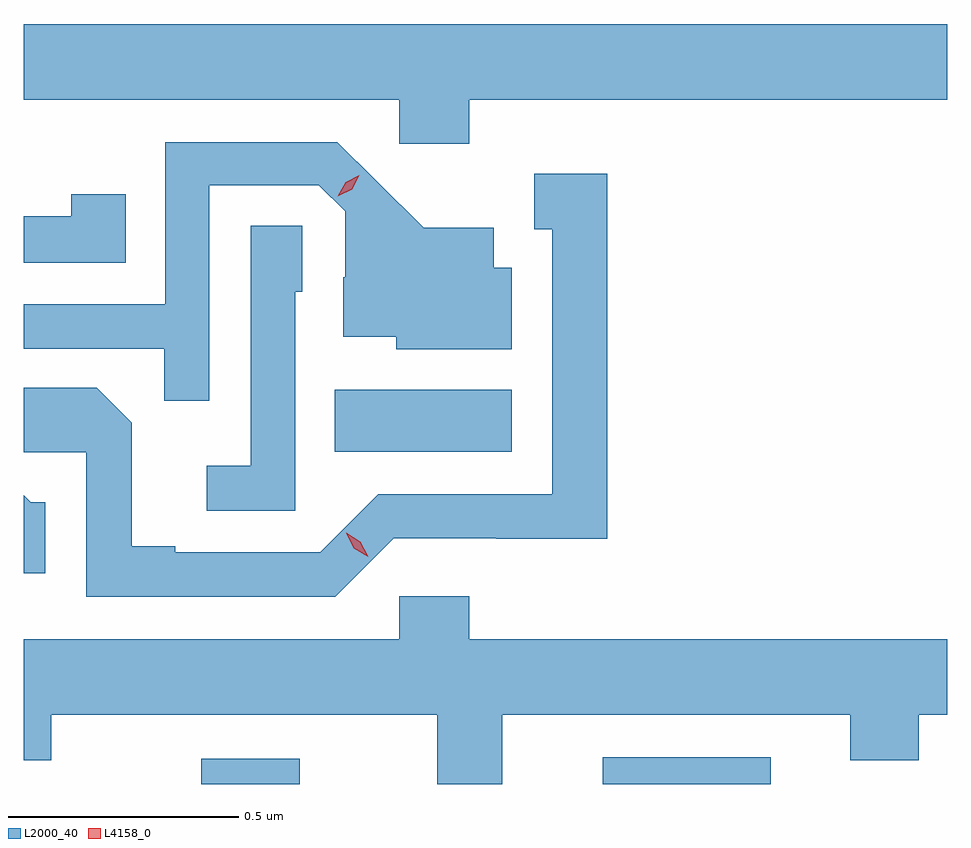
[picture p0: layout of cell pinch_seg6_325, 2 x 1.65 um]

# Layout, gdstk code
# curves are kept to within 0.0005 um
import gdstk
lib = gdstk.Library(unit=1e-6, precision=1e-09)
def R(c, l, rs):  # rectangles x0, y0, x1, y1
    for r in rs: c.add(gdstk.rectangle(r[:2], r[2:], *l))
def P(c, l, *ps):  # polygons
    for p in ps: c.add(gdstk.Polygon(p, *l))
L2000_40 = (2000, 40)
L4158_0 = (4158, 0)

pinch_seg6_325 = lib.new_cell('pinch_seg6_325')
R(pinch_seg6_325, L2000_40, [(638.355,965.834,638.569,965.889), (639.225,965.834,639.589,965.892), (638.644,966.554,639.028,966.688)])
P(pinch_seg6_325, L2000_40, [(638.936,967.316),(639.971,967.316),(639.971,967.48),(637.971,967.48),(637.971,967.316),(638.784,967.316),(638.784,967.221),(638.936,967.221)],
  [(638.373,967.131),(638.61,967.131),(638.667,967.074),(638.667,966.932),(638.663,966.932),(638.663,966.803),(638.778,966.803),(638.778,966.776),(639.028,966.776),(639.028,966.952),(638.989,966.952),(638.989,967.039),(638.837,967.039),(638.65,967.224),(638.277,967.224),(638.277,966.873),(637.971,966.873),(637.971,966.777),(638.275,966.777),(638.275,966.664),(638.373,966.664)],
  [(638.772,966.366),(638.994,966.366),(638.994,966.365),(639.235,966.365),(639.235,967.156),(639.077,967.156),(639.077,967.035),(639.116,967.035),(639.116,966.462),(638.739,966.462),(638.613,966.336),(638.299,966.336),(638.299,966.349),(638.205,966.349),(638.205,966.616),(638.129,966.692),(637.971,966.692),(637.971,966.552),(638.106,966.552),(638.106,966.24),(638.646,966.24)],
  [(638.192,967.111),(638.074,967.111),(638.074,967.064),(637.971,967.064),(637.971,966.963),(638.192,966.963)],
  [(638.559,966.9),(638.574,966.9),(638.574,967.043),(638.463,967.043),(638.463,966.523),(638.367,966.523),(638.367,966.426),(638.559,966.426)],
  [(638.017,966.444),(637.986,966.444),(637.971,966.459),(637.971,966.29),(638.017,966.29)],
  [(639.007,965.984),(639.761,965.984),(639.761,965.885),(639.909,965.885),(639.909,965.984),(639.971,965.984),(639.971,966.148),(638.936,966.148),(638.936,966.241),(638.784,966.241),(638.784,966.148),(637.971,966.148),(637.971,965.885),(638.031,965.885),(638.031,965.984),(638.867,965.984),(638.867,965.834),(639.007,965.834)])
P(pinch_seg6_325, L4158_0, [(638.717,966.326),(638.686,966.345),(638.669,966.378),(638.669,966.378),(638.669,966.378),(638.7,966.359),(638.717,966.326),(638.717,966.326)],
  [(638.651,967.107),(638.651,967.107),(638.668,967.137),(638.698,967.152),(638.698,967.152),(638.698,967.152),(638.682,967.122),(638.651,967.107)])

lib.write_gds('pinch_seg6_325.gds')
